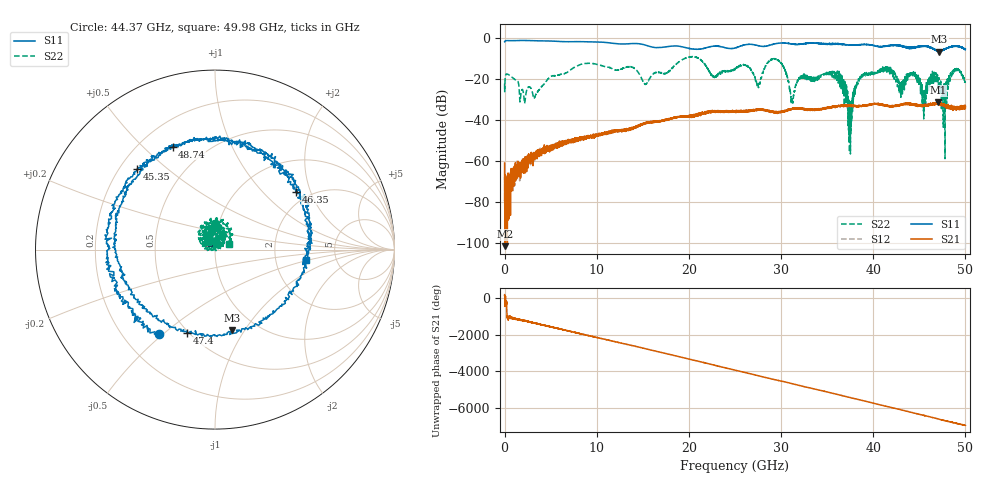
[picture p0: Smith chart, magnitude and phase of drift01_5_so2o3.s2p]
!Created with skrf (http://scikit-rf.org).
# Hz S RI R 50.0
!freq ReS11 ImS11 ReS21 ImS21 ReS12 ImS12 ReS22 ImS22
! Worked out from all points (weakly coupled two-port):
!   10001 points, 300 kHz to 50 GHz, reference 50 ohm
!   highest |S21| = -31.41 dB at 47.01 GHz (marker M1); lowest = -101.6 dB at 25.3 MHz (marker M2)
!   lowest |S11| = -6.8 dB at 47.19 GHz (marker M3), VSWR 2.69, Z = 38.6 - j43.9 ohm
!   |S11| at or under -10 dB: nowhere
!   |S22| runs from -58.9 to -9.2 dB; largest |S21 - S12| = 0.0043
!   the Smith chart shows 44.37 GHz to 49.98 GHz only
!   S11 on the Smith chart (normalised r, x): 44.37 GHz: 0.35, -0.49; 45.35 GHz: 0.27, +0.40; 46.35 GHz: 1.71, +1.60; 47.4 GHz: 0.49, -0.60; 48.74 GHz: 0.33, +0.62; 49.98 GHz: 3.00, -0.48
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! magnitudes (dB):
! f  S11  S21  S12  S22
! 300 kHz  -2.1  -61.1  -67.7  -22.4
! 25.3 MHz  -1.9  -101.6  -80.8  -23.1
! 3.29 GHz  -1.5  -58.8  -58.1  -28.9
! 8.335 GHz  -2.0  -49.5  -49.2  -12.9
! 16.67 GHz  -4.9  -41.0  -40.5  -16.7
! 25 GHz  -5.0  -36.1  -35.7  -15.4
! 29.6 GHz  -2.8  -36.2  -36.4  -10.7
! 31.23 GHz  -3.1  -34.5  -34.5  -30.7
! 33.34 GHz  -2.6  -35.3  -35.0  -20.0
! 36.08 GHz  -3.0  -33.5  -33.4  -17.8
! 37.49 GHz  -3.6  -33.4  -33.2  -34.5
! 38.65 GHz  -3.4  -33.2  -33.2  -20.1
! 41.67 GHz  -3.9  -33.3  -33.3  -15.0
! 44.37 GHz  -4.9  -32.6  -32.6  -16.8
! 45.35 GHz  -4.1  -33.1  -33.2  -27.9
! 46.35 GHz  -5.1  -32.5  -32.1  -20.6
! 47.01 GHz  -6.5  -31.4  -32.0  -20.2
! 47.19 GHz  -6.8  -32.7  -32.3  -22.8
! 47.4 GHz  -6.2  -32.1  -32.3  -33.3
! 48.74 GHz  -4.1  -34.0  -34.2  -16.0
! 49.98 GHz  -5.8  -33.1  -33.5  -21.4
! 50 GHz  -5.6  -33.4  -33.5  -22.0
